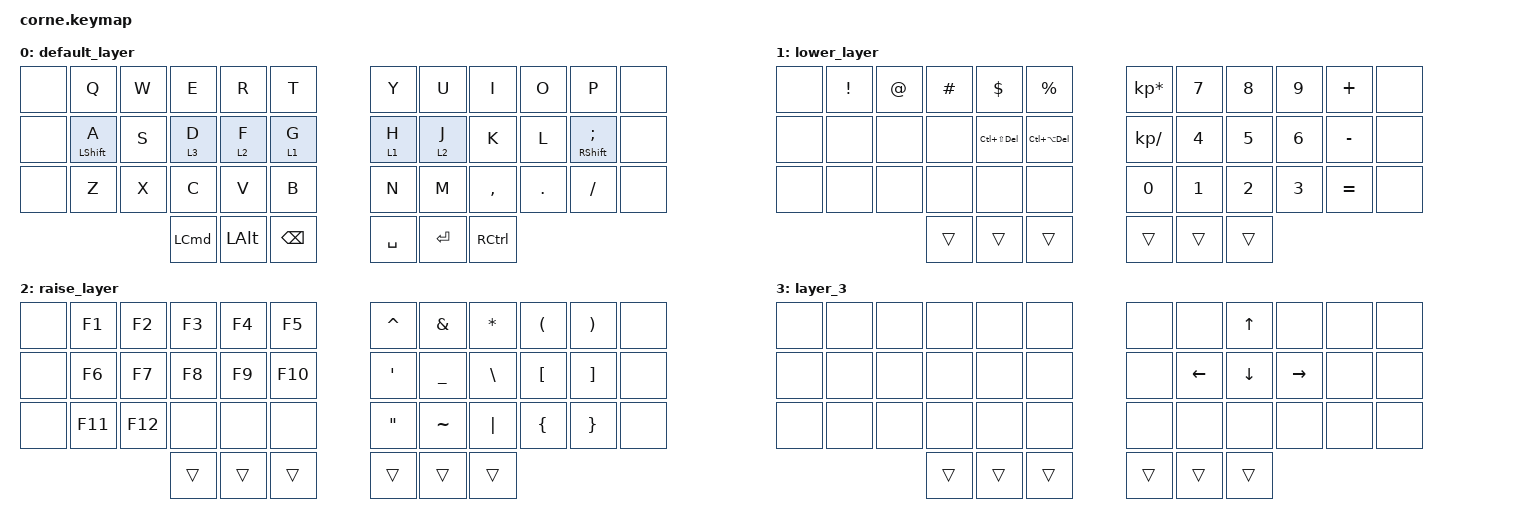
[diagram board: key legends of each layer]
/*
 * Copyright (c) 2020 The ZMK Contributors
 *
 * SPDX-License-Identifier: MIT
 */

#include <behaviors.dtsi>
#include <dt-bindings/zmk/keys.h>

/ {
    behaviors {
        HML: HML {
            compatible = "zmk,behavior-hold-tap";
            label = "HML";
            bindings = <&kp>, <&kp>;

            #binding-cells = <2>;
            tapping-term-ms = <200>;
            quick-tap-ms = <175>;
            flavor = "tap-preferred";
            hold-trigger-on-release;
            hold-trigger-key-positions = <36 37 38 39 40 41 30 32 31 18 6 7 8 9 10 11 23 22 21 20 19 33 34 35>;
        };

        HMR: HMR {
            compatible = "zmk,behavior-hold-tap";
            label = "HMR_RIGHT";
            bindings = <&kp>, <&kp>;

            #binding-cells = <2>;
            tapping-term-ms = <200>;
            quick-tap-ms = <175>;
            flavor = "tap-preferred";
            hold-trigger-on-release;
            hold-trigger-key-positions = <36 37 38 39 40 41 24 12 0 1 2 3 5 4 17 16 15 14 13 25 26 27 28 29>;
        };
    };

    combos {
        compatible = "zmk,combos";

        esc {
            bindings = <&kp ESCAPE>;
            key-positions = <1 2>;
        };

        tab {
            bindings = <&kp TAB>;
            key-positions = <27 26>;
        };
    };

    macros {
        joy: joy {
            compatible = "zmk,behavior-macro";
            #binding-cells = <0>;
            bindings = <&none &kp LS(J) &kp O &kp Y &kp C &kp E &kp SPACE &kp LS(B) &kp A &kp R &kp R &kp I &kp E &kp N &kp T &kp O &kp S &kp SPACE &kp LS(R) &kp LS(N)>;
            label = "JOY";
        };
    };

    keymap {
        compatible = "zmk,keymap";

        default_layer {
            // -----------------------------------------------------------------------------------------
            // |  TAB |  Q  |  W  |  E  |  R  |  T  |   |  Y  |  U   |  I  |  O  |  P  | BSPC |
            // | CTRL |  A  |  S  |  D  |  F  |  G  |   |  H  |  J   |  K  |  L  |  ;  |  '   |
            // | SHFT |  Z  |  X  |  C  |  V  |  B  |   |  N  |  M   |  ,  |  .  |  /  | ESC  |
            //                    | GUI | LWR | SPC |   | ENT | RSE  | ALT |

            bindings = <
&none  &kp Q              &kp W  &kp E             &kp R         &kp T            &kp Y      &kp U      &kp I      &kp O       &kp P                       &none
&none  &HML LEFT_SHIFT A  &kp S  &lt 3 D           &lt 2 F       &lt 1 G          &lt 1 H    &lt 2 J    &kp K      &kp L       &HMR RIGHT_SHIFT SEMICOLON  &none
&none  &kp Z              &kp X  &kp C             &kp V         &kp B            &kp N      &kp M      &kp COMMA  &kp PERIOD  &kp SLASH                   &none
                                 &kp LEFT_COMMAND  &kp LEFT_ALT  &kp BACKSPACE    &kp SPACE  &kp ENTER  &kp RCTRL
            >;
        };

        lower_layer {
            // -----------------------------------------------------------------------------------------
            // |  TAB |  1  |  2  |  3  |  4  |  5  |   |  6  |  7  |  8  |  9  |  0  | BSPC |
            // | BTCLR| BT1 | BT2 | BT3 | BT4 | BT5 |   | LFT | DWN |  UP | RGT |     |      |
            // | SHFT |     |     |     |     |     |   |     |     |     |     |     |      |
            //                    | GUI |     | SPC |   | ENT |     | ALT |

            bindings = <
&none  &kp EXCLAMATION  &kp AT_SIGN  &kp HASH  &kp DOLLAR          &kp PERCENT           &kp KP_MULTIPLY  &kp N7        &kp N8        &kp N9        &kp PLUS   &none
&none  &none            &none        &none     &kp LC(LS(DELETE))  &kp LC(LA(DELETE))    &kp KP_DIVIDE    &kp NUMBER_4  &kp N5        &kp NUMBER_6  &kp MINUS  &none
&none  &none            &none        &none     &none               &none                 &kp N0           &kp NUMBER_1  &kp NUMBER_2  &kp NUMBER_3  &kp EQUAL  &none
                                     &trans    &trans              &trans                &trans           &trans        &trans
            >;
        };

        raise_layer {
            // -----------------------------------------------------------------------------------------
            // |  TAB |  !  |  @  |  #  |  $  |  %  |   |  ^  |  &  |  *  |  (  |  )  | BSPC |
            // | CTRL |     |     |     |     |     |   |  -  |  =  |  [  |  ]  |  \  |  `   |
            // | SHFT |     |     |     |     |     |   |  _  |  +  |  {  |  }  | "|" |  ~   |
            //                    | GUI |     | SPC |   | ENT |     | ALT |

            bindings = <
&none  &kp F1   &kp F2   &kp F3  &kp F4  &kp F5     &kp CARET          &kp AMPS        &kp ASTRK      &kp LPAR          &kp RPAR           &none
&none  &kp F6   &kp F7   &kp F8  &kp F9  &kp F10    &kp SQT            &kp UNDERSCORE  &kp BACKSLASH  &kp LEFT_BRACKET  &kp RIGHT_BRACKET  &none
&none  &kp F11  &kp F12  &none   &none   &none      &kp DOUBLE_QUOTES  &kp TILDE       &kp PIPE       &kp LEFT_BRACE    &kp RIGHT_BRACE    &none
                         &trans  &trans  &trans     &trans             &trans          &trans
            >;
        };

        layer_3 {
            bindings = <
&none  &none  &none  &none   &none   &none     &none   &none           &kp UP_ARROW    &none      &none  &none
&none  &none  &none  &none   &none   &none     &none   &kp LEFT_ARROW  &kp DOWN_ARROW  &kp RIGHT  &none  &none
&none  &none  &none  &none   &none   &none     &none   &none           &none           &none      &none  &none
                     &trans  &trans  &trans    &trans  &trans          &trans
            >;
        };
    };
};
